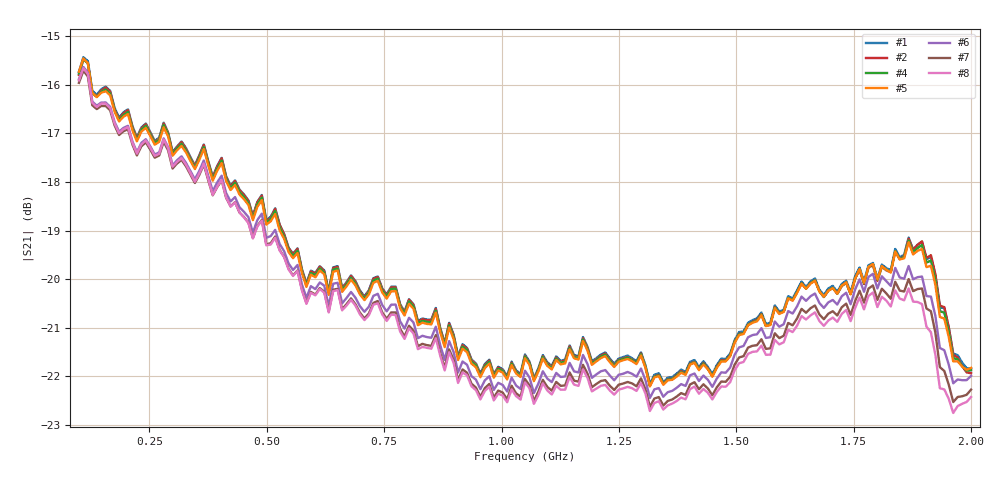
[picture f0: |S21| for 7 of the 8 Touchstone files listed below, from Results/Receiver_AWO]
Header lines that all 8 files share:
!Keysight Technologies,N5242B,MY48420967,A.15.65.19
!Correction: S11(C  1-Port  )
!S21(Off)
!S12(Off)
!S22(Off)
!S2P File: Measurements: S11, S21, S12, S22:
# Hz S  dB  R 50
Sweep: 100 MHz to 2 GHz
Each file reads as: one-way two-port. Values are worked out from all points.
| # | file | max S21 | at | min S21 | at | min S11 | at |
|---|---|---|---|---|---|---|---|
| 1 | S-ParamMeas20k_Receiver_AWO.s2p | -15.43 dB | 109.5 MHz | -22.2 dB | 1.316 GHz | -3.8 dB | 2 GHz |
| 2 | S-ParamMeas25k_Receiver_AWO.s2p | -15.48 dB | 109.5 MHz | -22.2 dB | 1.316 GHz | -3.7 dB | 2 GHz |
| 3 | S-ParamMeas30k_Receiver_AWO.s2p | -15.48 dB | 109.5 MHz | -22.2 dB | 1.316 GHz | -3.7 dB | 2 GHz |
| 4 | S-ParamMeas77k_Receiver_AWO.s2p | -15.47 dB | 109.5 MHz | -22.2 dB | 1.316 GHz | -3.8 dB | 2 GHz |
| 5 | S-ParamMeas100k_Receiver_AWO.s2p | -15.46 dB | 109.5 MHz | -22.2 dB | 1.316 GHz | -3.9 dB | 2 GHz |
| 6 | S-ParamMeas200k_Receiver_AWO.s2p | -15.63 dB | 109.5 MHz | -22.4 dB | 1.316 GHz | -4.4 dB | 1.924 GHz |
| 7 | S-ParamMeas250k_Receiver_AWO.s2p | -15.71 dB | 109.5 MHz | -22.6 dB | 1.316 GHz | -4.8 dB | 1.915 GHz |
| 8 | S-ParamMeas290k_Receiver_AWO.s2p | -15.66 dB | 109.5 MHz | -22.8 dB | 1.962 GHz | -5.1 dB | 1.915 GHz |
